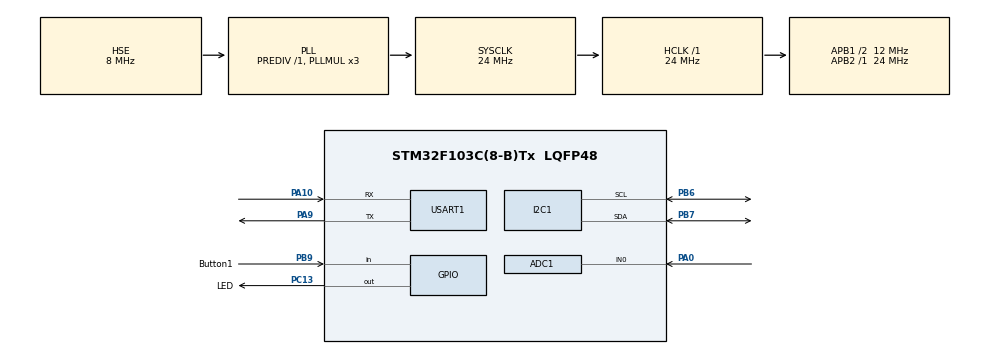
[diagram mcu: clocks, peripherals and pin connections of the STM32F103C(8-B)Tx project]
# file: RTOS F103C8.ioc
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ADC1.Channel-0\#ChannelRegularConversion=ADC_CHANNEL_0
ADC1.NbrOfConversionFlag=1
ADC1.Rank-0\#ChannelRegularConversion=1
ADC1.SamplingTime-0\#ChannelRegularConversion=ADC_SAMPLETIME_1CYCLE_5
ADC1.master=1
FREERTOS.Tasks01=defaultTask,0,128,StartDefaultTask,Default,NULL,Dynamic,NULL,NULL;pickButtonTask,-2,128,pickButton,Default,NULL,Dynamic,NULL,NULL;getADCTask,1,128,getADC,Default,NULL,Dynamic,NULL,NULL;dispUARTTask,0,128,dispUART,Default,NULL,Dynamic,NULL,NULL;ctrlLEDTask,0,128,ctrlLED,Default,NULL,Dynamic,NULL,NULL
FREERTOS.configTOTAL_HEAP_SIZE=3600
I2C1.I2C_Mode=I2C_Fast
Mcu.Family=STM32F1
Mcu.Name=STM32F103C(8-B)Tx
Mcu.Package=LQFP48
NVIC.PriorityGroup=NVIC_PRIORITYGROUP_4
NVIC.TIM4_IRQn=true\:15\:0\:false\:false\:true\:false\:false\:true\:true
NVIC.TimeBase=TIM4_IRQn
NVIC.TimeBaseIP=TIM4
PA0-WKUP.Signal=ADCx_IN0
PA10.Mode=Asynchronous
PA10.Signal=USART1_RX
PA13.Mode=Serial_Wire
PA13.Signal=SYS_JTMS-SWDIO
PA14.Mode=Serial_Wire
PA14.Signal=SYS_JTCK-SWCLK
PA9.Mode=Asynchronous
PA9.Signal=USART1_TX
PB6.Mode=I2C
PB6.Signal=I2C1_SCL
PB7.Mode=I2C
PB7.Signal=I2C1_SDA
PB9.GPIO_Label=Button1
PB9.GPIO_PuPd=GPIO_NOPULL
PB9.Signal=GPIO_Input
PC13-TAMPER-RTC.GPIO_Label=LED
PC13-TAMPER-RTC.Signal=GPIO_Output
PD0-OSC_IN.Mode=HSE-External-Oscillator
PD0-OSC_IN.Signal=RCC_OSC_IN
PD1-OSC_OUT.Mode=HSE-External-Oscillator
PD1-OSC_OUT.Signal=RCC_OSC_OUT
ProjectManager.HeapSize=0x200
ProjectManager.StackSize=0x400
ProjectManager.TargetToolchain=STM32CubeIDE
RCC.AHBFreq_Value=24000000
RCC.APB1CLKDivider=RCC_HCLK_DIV2
RCC.APB1Freq_Value=12000000
RCC.APB1TimFreq_Value=24000000
RCC.APB2Freq_Value=24000000
RCC.APB2TimFreq_Value=24000000
RCC.HCLKFreq_Value=24000000
RCC.PLLMUL=RCC_PLL_MUL3
RCC.PLLSourceVirtual=RCC_PLLSOURCE_HSE
RCC.SYSCLKFreq_VALUE=24000000
RCC.SYSCLKSource=RCC_SYSCLKSOURCE_PLLCLK
RCC.USBFreq_Value=24000000
SH.ADCx_IN0.0=ADC1_IN0,IN0
USART1.VirtualMode=VM_ASYNC
VP_FREERTOS_VS_CMSIS_V1.Mode=CMSIS_V1
VP_SYS_VS_tim4.Mode=TIM4
board=custom

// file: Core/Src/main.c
/* USER CODE BEGIN Header */
/**
  ******************************************************************************
  * @file           : main.c
  * @brief          : Main program body
  ******************************************************************************
  * @attention
  *
  * Copyright (c) 2024 STMicroelectronics.
  * All rights reserved.
  *
  * This software is licensed under terms that can be found in the LICENSE file
  * in the root directory of this software component.
  * If no LICENSE file comes with this software, it is provided AS-IS.
  *
  ******************************************************************************
  */
/* USER CODE END Header */
#include "main.h"
#include "cmsis_os.h"

/* USER CODE BEGIN Includes */
#include "string.h"
#include "stdio.h"

/* USER CODE END Includes */

/* USER CODE BEGIN PTD */
int button1_pressed;
int button2_pressed;
char tx_buffer[20];
uint16_t x_val;

/* USER CODE END PTD */

ADC_HandleTypeDef hadc1;

I2C_HandleTypeDef hi2c1;

UART_HandleTypeDef huart1;

osThreadId defaultTaskHandle;
osThreadId pickButtonTaskHandle;
osThreadId getADCTaskHandle;
osThreadId dispUARTTaskHandle;
osThreadId ctrlLEDTaskHandle;

void SystemClock_Config(void);
static void MX_GPIO_Init(void);
static void MX_ADC1_Init(void);
static void MX_I2C1_Init(void);
static void MX_USART1_UART_Init(void);
void StartDefaultTask(void const * argument);
void pickButton(void const * argument);
void getADC(void const * argument);
void dispUART(void const * argument);
void ctrlLED(void const * argument);

int main(void)
{

  /* MCU Configuration--------------------------------------------------------*/

  /* Reset of all peripherals, Initializes the Flash interface and the Systick. */
  HAL_Init();

  /* Configure the system clock */
  SystemClock_Config();

  /* Initialize all configured peripherals */
  MX_GPIO_Init();
  MX_ADC1_Init();
  MX_I2C1_Init();
  MX_USART1_UART_Init();

  /* Create the thread(s) */
  /* definition and creation of defaultTask */
  osThreadDef(defaultTask, StartDefaultTask, osPriorityNormal, 0, 128);
  defaultTaskHandle = osThreadCreate(osThread(defaultTask), NULL);

  /* definition and creation of pickButtonTask */
  osThreadDef(pickButtonTask, pickButton, osPriorityLow, 0, 128);
  pickButtonTaskHandle = osThreadCreate(osThread(pickButtonTask), NULL);

  /* definition and creation of getADCTask */
  osThreadDef(getADCTask, getADC, osPriorityAboveNormal, 0, 128);
  getADCTaskHandle = osThreadCreate(osThread(getADCTask), NULL);

  /* definition and creation of dispUARTTask */
  osThreadDef(dispUARTTask, dispUART, osPriorityNormal, 0, 128);
  dispUARTTaskHandle = osThreadCreate(osThread(dispUARTTask), NULL);

  /* definition and creation of ctrlLEDTask */
  osThreadDef(ctrlLEDTask, ctrlLED, osPriorityNormal, 0, 128);
  ctrlLEDTaskHandle = osThreadCreate(osThread(ctrlLEDTask), NULL);

  /* Start scheduler */
  osKernelStart();

  /* We should never get here as control is now taken by the scheduler */

  /* Infinite loop */
  while (1)
  {

  }
}

void SystemClock_Config(void)
{
  RCC_OscInitTypeDef RCC_OscInitStruct = {0};
  RCC_ClkInitTypeDef RCC_ClkInitStruct = {0};
  RCC_PeriphCLKInitTypeDef PeriphClkInit = {0};

  /** Initializes the RCC Oscillators according to the specified parameters
  * in the RCC_OscInitTypeDef structure.
  */
  RCC_OscInitStruct.OscillatorType = RCC_OSCILLATORTYPE_HSE;
  RCC_OscInitStruct.HSEState = RCC_HSE_ON;
  RCC_OscInitStruct.HSEPredivValue = RCC_HSE_PREDIV_DIV1;
  RCC_OscInitStruct.HSIState = RCC_HSI_ON;
  RCC_OscInitStruct.PLL.PLLState = RCC_PLL_ON;
  RCC_OscInitStruct.PLL.PLLSource = RCC_PLLSOURCE_HSE;
  RCC_OscInitStruct.PLL.PLLMUL = RCC_PLL_MUL3;
  if (HAL_RCC_OscConfig(&RCC_OscInitStruct) != HAL_OK)
  {
    Error_Handler();
  }

  /** Initializes the CPU, AHB and APB buses clocks
  */
  RCC_ClkInitStruct.ClockType = RCC_CLOCKTYPE_HCLK|RCC_CLOCKTYPE_SYSCLK
                              |RCC_CLOCKTYPE_PCLK1|RCC_CLOCKTYPE_PCLK2;
  RCC_ClkInitStruct.SYSCLKSource = RCC_SYSCLKSOURCE_PLLCLK;
  RCC_ClkInitStruct.AHBCLKDivider = RCC_SYSCLK_DIV1;
  RCC_ClkInitStruct.APB1CLKDivider = RCC_HCLK_DIV2;
  RCC_ClkInitStruct.APB2CLKDivider = RCC_HCLK_DIV1;

  if (HAL_RCC_ClockConfig(&RCC_ClkInitStruct, FLASH_LATENCY_0) != HAL_OK)
  {
    Error_Handler();
  }
  PeriphClkInit.PeriphClockSelection = RCC_PERIPHCLK_ADC;
  PeriphClkInit.AdcClockSelection = RCC_ADCPCLK2_DIV2;
  if (HAL_RCCEx_PeriphCLKConfig(&PeriphClkInit) != HAL_OK)
  {
    Error_Handler();
  }
}

static void MX_ADC1_Init(void)
{

  ADC_ChannelConfTypeDef sConfig = {0};

  /** Common config
  */
  hadc1.Instance = ADC1;
  hadc1.Init.ScanConvMode = ADC_SCAN_DISABLE;
  hadc1.Init.ContinuousConvMode = DISABLE;
  hadc1.Init.DiscontinuousConvMode = DISABLE;
  hadc1.Init.ExternalTrigConv = ADC_SOFTWARE_START;
  hadc1.Init.DataAlign = ADC_DATAALIGN_RIGHT;
  hadc1.Init.NbrOfConversion = 1;
  if (HAL_ADC_Init(&hadc1) != HAL_OK)
  {
    Error_Handler();
  }

  /** Configure Regular Channel
  */
  sConfig.Channel = ADC_CHANNEL_0;
  sConfig.Rank = ADC_REGULAR_RANK_1;
  sConfig.SamplingTime = ADC_SAMPLETIME_1CYCLE_5;
  if (HAL_ADC_ConfigChannel(&hadc1, &sConfig) != HAL_OK)
  {
    Error_Handler();
  }

}

static void MX_I2C1_Init(void)
{

  hi2c1.Instance = I2C1;
  hi2c1.Init.ClockSpeed = 400000;
  hi2c1.Init.DutyCycle = I2C_DUTYCYCLE_2;
  hi2c1.Init.OwnAddress1 = 0;
  hi2c1.Init.AddressingMode = I2C_ADDRESSINGMODE_7BIT;
  hi2c1.Init.DualAddressMode = I2C_DUALADDRESS_DISABLE;
  hi2c1.Init.OwnAddress2 = 0;
  hi2c1.Init.GeneralCallMode = I2C_GENERALCALL_DISABLE;
  hi2c1.Init.NoStretchMode = I2C_NOSTRETCH_DISABLE;
  if (HAL_I2C_Init(&hi2c1) != HAL_OK)
  {
    Error_Handler();
  }

}

static void MX_USART1_UART_Init(void)
{

  huart1.Instance = USART1;
  huart1.Init.BaudRate = 115200;
  huart1.Init.WordLength = UART_WORDLENGTH_8B;
  huart1.Init.StopBits = UART_STOPBITS_1;
  huart1.Init.Parity = UART_PARITY_NONE;
  huart1.Init.Mode = UART_MODE_TX_RX;
  huart1.Init.HwFlowCtl = UART_HWCONTROL_NONE;
  huart1.Init.OverSampling = UART_OVERSAMPLING_16;
  if (HAL_UART_Init(&huart1) != HAL_OK)
  {
    Error_Handler();
  }

}

static void MX_GPIO_Init(void)
{
  GPIO_InitTypeDef GPIO_InitStruct = {0};

  /* GPIO Ports Clock Enable */
  __HAL_RCC_GPIOC_CLK_ENABLE();
  __HAL_RCC_GPIOD_CLK_ENABLE();
  __HAL_RCC_GPIOA_CLK_ENABLE();
  __HAL_RCC_GPIOB_CLK_ENABLE();

  /*Configure GPIO pin Output Level */
  HAL_GPIO_WritePin(LED_GPIO_Port, LED_Pin, GPIO_PIN_RESET);

  /*Configure GPIO pin : LED_Pin */
  GPIO_InitStruct.Pin = LED_Pin;
  GPIO_InitStruct.Mode = GPIO_MODE_OUTPUT_PP;
  GPIO_InitStruct.Pull = GPIO_NOPULL;
  GPIO_InitStruct.Speed = GPIO_SPEED_FREQ_LOW;
  HAL_GPIO_Init(LED_GPIO_Port, &GPIO_InitStruct);

  /*Configure GPIO pin : Button1_Pin */
  GPIO_InitStruct.Pin = Button1_Pin;
  GPIO_InitStruct.Mode = GPIO_MODE_INPUT;
  GPIO_InitStruct.Pull = GPIO_NOPULL;
  HAL_GPIO_Init(Button1_GPIO_Port, &GPIO_InitStruct);

}

void StartDefaultTask(void const * argument)
{
  for(;;)
  {
    osDelay(1);
  }
}

void pickButton(void const * argument)
{
  /* USER CODE BEGIN pickButton */
  /* Infinite loop */
	  for(;;)
	  {
		  if(HAL_GPIO_ReadPin(Button1_GPIO_Port, Button1_Pin) == GPIO_PIN_SET)
		  	  {
		  		  osDelay(200);	// debounce
		  		  button1_pressed = 1;
		  	  }else{
		  		osDelay(200);	// debounce
		  		  button1_pressed = 0;
		  	  }
	    osDelay(100);  // Short delay for RTOS
	  }
  /* USER CODE END pickButton */
}

void getADC(void const * argument)
{
  /* USER CODE BEGIN getADC */
  /* Infinite loop */
  for(;;)
  {
	  HAL_ADC_Start(&hadc1);
	  HAL_ADC_PollForConversion(&hadc1, 10);
	  x_val = (HAL_ADC_GetValue(&hadc1));
	  HAL_ADC_Stop(&hadc1);

	  // process ADC values here

	  osDelay(100);
  }
  /* USER CODE END getADC */
}

void dispUART(void const * argument)
{
  /* USER CODE BEGIN dispUART */
  /* Infinite loop */

	for(;;)
	  {
	    sprintf(tx_buffer, "%hu\r\n", x_val);  // Mengirim nilai ADC
	    HAL_UART_Transmit(&huart1, (uint8_t*)tx_buffer, strlen(tx_buffer), 10);

	    if(button1_pressed)
	    {
	      HAL_UART_Transmit(&huart1, (uint8_t*)"Button1 pressed\r\n", sizeof("Button1 pressed\r\n") - 1, 10);
	    }
	    else
	    {
	      HAL_UART_Transmit(&huart1, (uint8_t*)"Button1 NULL\r\n", sizeof("Button1 NULL\r\n") - 1, 10);
	    }

	    osDelay(100);  // Delay antar transmisi
	  }
  /* USER CODE END dispUART */
}

void ctrlLED(void const * argument)
{
  /* USER CODE BEGIN ctrlLED */
  /* Infinite loop */
	for(;;)
	  {
	    if(button1_pressed || x_val > 2000)
	    {
	      HAL_GPIO_TogglePin(LED_GPIO_Port, LED_Pin);  // Toggle LED
	      osDelay(300);  // Delay to make the toggle visible
	    }
	    else
	    {
	      HAL_GPIO_WritePin(LED_GPIO_Port, LED_Pin, GPIO_PIN_RESET);  // Turn off LED
	    }
	    osDelay(50);  // Reduced delay for responsiveness
	  }
  /* USER CODE END ctrlLED */
}

void HAL_TIM_PeriodElapsedCallback(TIM_HandleTypeDef *htim)
{
  if (htim->Instance == TIM4) {
    HAL_IncTick();
  }
}

void Error_Handler(void)
{
  __disable_irq();
  while (1)
  {
  }
}
